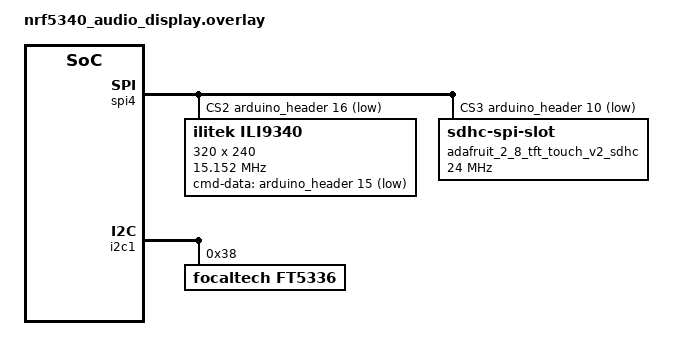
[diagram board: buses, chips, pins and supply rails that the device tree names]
/*
 * Copyright (c) 2019 PHYTEC Messtechnik GmbH
 *
 * SPDX-License-Identifier: Apache-2.0
 */

#include <zephyr/dt-bindings/display/ili9xxx.h>

/ {
    chosen {
        zephyr,display = &ili9340;
        zephyr,keyboard-scan = &kscan_input;
    };
};

&spi4 {
    status = "okay";
    cs-gpios = <&gpio0 11 GPIO_ACTIVE_LOW>,
               <&gpio0 17 GPIO_ACTIVE_LOW>,
               <&arduino_header 16 GPIO_ACTIVE_LOW>,
               <&arduino_header 10 GPIO_ACTIVE_LOW>;


    ili9340: ili9340@2 {
        compatible = "ilitek,ili9340";
        spi-max-frequency = <15151515>;
        reg = <2>;
        cmd-data-gpios = <&arduino_header 15 GPIO_ACTIVE_LOW>;    /* D9 */
        width = <320>;
        height = <240>;
        pixel-format = <ILI9XXX_PIXEL_FORMAT_RGB888>;
        rotation = <90>;
        frmctr1 = [ 00 18  ];
        pwctrl1 = [ 23 00  ];
        vmctrl1 = [ 3e 28  ];
        vmctrl2 = [ 86  ];
        pgamctrl = [ 0f 31 2b 0c 0e 08 4e f1 37 07 10 03 0e 09 00  ];
        ngamctrl = [ 00 0e 14 03 11 07 31 c1 48 08 0f 0c 31 36 0f  ];
    };

    adafruit_2_8_tft_touch_v2_sdhc: sdhc@3 {
        compatible = "zephyr,sdhc-spi-slot";
        reg = <3>;
        status = "okay";
        spi-max-frequency = <24000000>;
        mmc {
            compatible = "zephyr,sdmmc-disk";
            status = "okay";
        };
    };
};

&i2c1 {
    ft5336@38 {
        compatible = "focaltech,ft5336";
        reg = <0x38>;
        /* Uncomment if IRQ line is available (requires to solder jumper) */
        /* int-gpios = <&arduino_header 13 GPIO_ACTIVE_LOW>; */ /* D7 */

        kscan_input: kscan-input {
            compatible = "zephyr,kscan-input";
        };
    };
};
